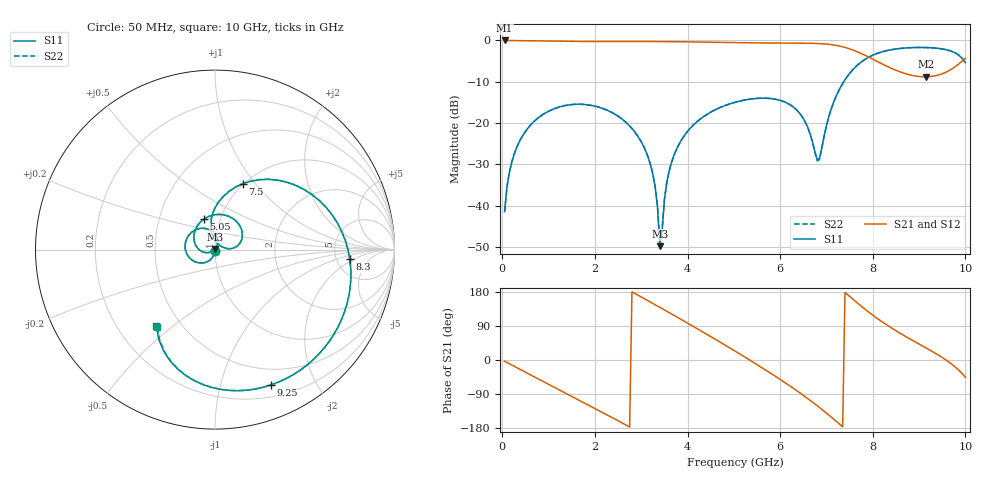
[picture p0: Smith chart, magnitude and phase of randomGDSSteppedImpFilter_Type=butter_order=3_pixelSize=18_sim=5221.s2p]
! freq	dB(S11)	phase(S11)	dB(S12)	phase(S12)
!  dB(S21)	phase(S21)	dB(S22)	phase(S22)
!S-par simulation data
#  GHz  S  DB  R 50
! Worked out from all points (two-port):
!   200 points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, 50 MHz to 10 GHz, reference 50 ohm
!   highest |S21| = -0.01 dB at 50 MHz (marker M1); lowest = -8.8 dB at 9.15 GHz (marker M2)
!   |S21| within 3 dB of the highest: start of sweep to 7.721 GHz
!   lowest |S11| = -49.8 dB at 3.4 GHz (marker M3), VSWR 1.01, Z = 50 + j0.325 ohm
!   |S11| at or under -10 dB: start of sweep to 7.373 GHz
!   |S22| runs from -48.6 to -1.7 dB; largest |S21 - S12| = 0
!   S11 on the Smith chart (normalised r, x): 50 MHz: 1.00, -0.02; 5.05 GHz: 0.83, +0.29; 7.5 GHz: 0.99, +0.87; 8.3 GHz: 6.69, -1.59; 9.25 GHz: 0.32, -1.44; 10 GHz: 0.37, -0.44
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0.05  -41.40 -91.3  -0.01 -3.3  -0.01 -3.3  -41.40 -91.2
0.2  -29.61 -102.5  -0.03 -13.0  -0.03 -13.0  -29.61 -102.4
0.5  -22.00 -122.6  -0.07 -32.2  -0.07 -32.2  -22.00 -122.5
1.15  -16.39 -164.3  -0.19 -73.6  -0.19 -73.6  -16.39 -164.2
1.75  -15.47 157.4  -0.26 -111.7  -0.26 -111.7  -15.47 157.7
2.4  -17.63 115.7  -0.26 -153.7  -0.26 -153.7  -17.63 116.1
3  -24.50 76.6  -0.25 166.4  -0.25 166.4  -24.50 77.5
3.3  -35.33 60.0  -0.26 146.0  -0.26 146.0  -35.29 62.6
3.4  -49.75 87.6  -0.27 139.1  -0.27 139.1  -48.60 96.1
3.55  -34.51 -147.2  -0.28 128.7  -0.28 128.7  -34.47 -149.1
3.8  -25.45 -161.4  -0.31 111.4  -0.31 111.4  -25.45 -161.9
4.4  -18.02 157.2  -0.41 69.0  -0.41 69.0  -18.02 157.2
5.05  -14.89 110.5  -0.53 21.8  -0.53 21.8  -14.89 110.6
5.8  -14.06 55.1  -0.63 -35.3  -0.63 -35.3  -14.06 55.0
6.7  -24.60 7.9  -0.70 -111.3  -0.70 -111.3  -24.70 6.7
6.85  -28.47 67.8  -0.76 -125.5  -0.76 -125.5  -28.83 68.4
7.5  -7.98 67.0  -2.03 167.9  -2.03 167.9  -7.98 67.3
8.3  -2.47 -3.9  -6.22 92.6  -6.22 92.6  -2.47 -3.8
8.35  -2.35 -7.7  -6.48 88.7  -6.48 88.7  -2.35 -7.6
9.15  -1.72 -61.3  -8.80 31.8  -8.80 31.8  -1.72 -61.2
9.25  -1.77 -67.7  -8.73 24.8  -8.73 24.8  -1.76 -67.5
10  -5.40 -127.5  -4.34 -45.6  -4.34 -45.6  -5.37 -126.6
